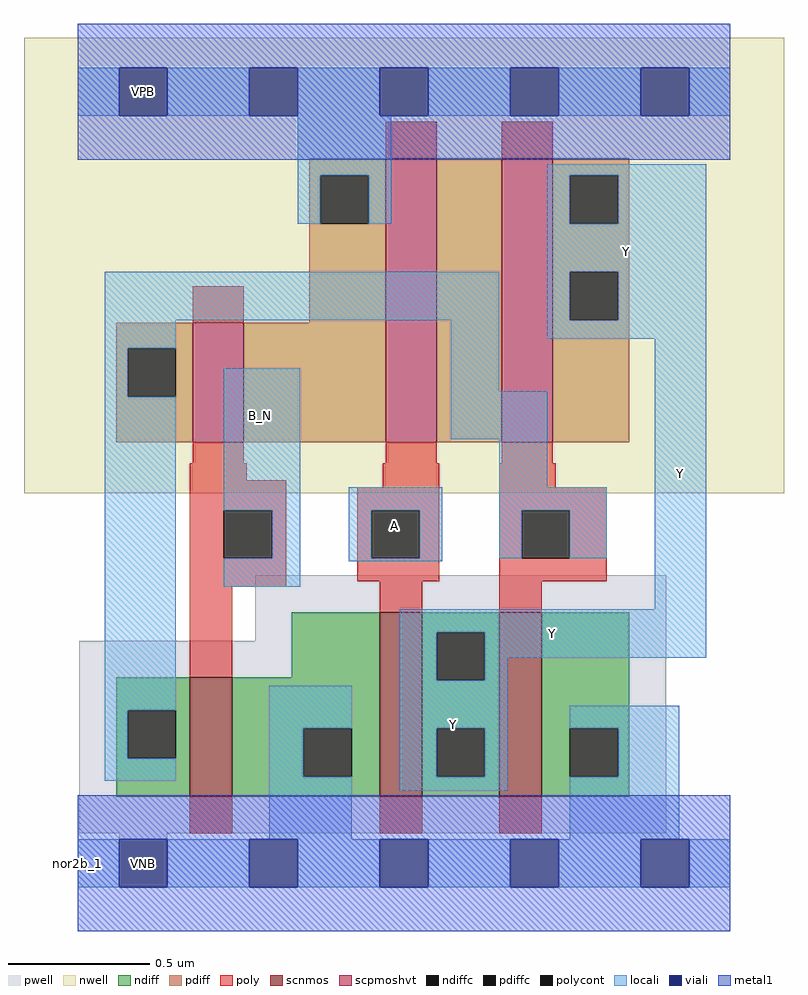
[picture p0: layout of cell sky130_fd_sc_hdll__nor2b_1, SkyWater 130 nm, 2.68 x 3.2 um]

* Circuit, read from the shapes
.subckt sky130_fd_sc_hdll__nor2b_1 A B_N VGND VNB VPB VPWR Y
XM1 VGND B_N n1 VNB sky130_fd_pr__nfet_01v8 w=0.42 l=0.15
XM2 Y A VGND VNB sky130_fd_pr__nfet_01v8 w=0.65 l=0.15
XM3 VGND n1 Y VNB sky130_fd_pr__nfet_01v8 w=0.65 l=0.15
XM4 VPWR B_N n1 VPB sky130_fd_pr__pfet_01v8_hvt w=0.42 l=0.18
XM5 n2 A VPWR VPB sky130_fd_pr__pfet_01v8_hvt w=1 l=0.18
XM6 Y n1 n2 VPB sky130_fd_pr__pfet_01v8_hvt w=1 l=0.18
.ends

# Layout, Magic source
magic
tech sky130A
magscale 1 2
<< nwell >>
rect -38 261 498 582
<< pwell >>
rect 125 157 415 203
rect 1 21 415 157
rect 29 -17 63 21
<< scnmos >>
rect 79 47 109 131
rect 213 47 243 177
rect 297 47 327 177
<< scpmoshvt >>
rect 81 297 117 381
rect 217 297 253 497
rect 299 297 335 497
<< ndiff >>
rect 151 131 213 177
rect 27 108 79 131
rect 27 74 35 108
rect 69 74 79 108
rect 27 47 79 74
rect 109 95 213 131
rect 109 61 159 95
rect 193 61 213 95
rect 109 47 213 61
rect 243 163 297 177
rect 243 129 253 163
rect 287 129 297 163
rect 243 95 297 129
rect 243 61 253 95
rect 287 61 297 95
rect 243 47 297 61
rect 327 95 389 177
rect 327 61 347 95
rect 381 61 389 95
rect 327 47 389 61
<< pdiff >>
rect 163 485 217 497
rect 163 451 171 485
rect 205 451 217 485
rect 163 381 217 451
rect 27 363 81 381
rect 27 329 35 363
rect 69 329 81 363
rect 27 297 81 329
rect 117 297 217 381
rect 253 297 299 497
rect 335 485 389 497
rect 335 451 347 485
rect 381 451 389 485
rect 335 417 389 451
rect 335 383 347 417
rect 381 383 389 417
rect 335 297 389 383
<< ndiffc >>
rect 35 74 69 108
rect 159 61 193 95
rect 253 129 287 163
rect 253 61 287 95
rect 347 61 381 95
<< pdiffc >>
rect 171 451 205 485
rect 35 329 69 363
rect 347 451 381 485
rect 347 383 381 417
<< poly >>
rect 217 497 253 523
rect 299 497 335 523
rect 81 381 117 407
rect 81 282 117 297
rect 217 282 253 297
rect 299 282 335 297
rect 79 270 119 282
rect 79 249 147 270
rect 215 265 255 282
rect 79 215 103 249
rect 137 215 147 249
rect 79 195 147 215
rect 197 249 255 265
rect 197 215 207 249
rect 241 215 255 249
rect 197 199 255 215
rect 297 265 337 282
rect 297 249 373 265
rect 297 215 313 249
rect 347 215 373 249
rect 297 199 373 215
rect 79 131 109 195
rect 213 177 243 199
rect 297 177 327 199
rect 79 21 109 47
rect 213 21 243 47
rect 297 21 327 47
<< polycont >>
rect 103 215 137 249
rect 207 215 241 249
rect 313 215 347 249
<< locali >>
rect 0 527 29 561
rect 63 527 121 561
rect 155 527 213 561
rect 247 527 305 561
rect 339 527 397 561
rect 431 527 460 561
rect 155 485 221 527
rect 155 451 171 485
rect 205 451 221 485
rect 331 485 443 493
rect 331 451 347 485
rect 381 451 443 485
rect 331 417 443 451
rect 19 383 297 417
rect 19 363 69 383
rect 19 329 35 363
rect 19 108 69 329
rect 103 249 157 349
rect 263 333 297 383
rect 331 383 347 417
rect 381 383 443 417
rect 331 370 443 383
rect 263 299 331 333
rect 297 265 331 299
rect 137 215 157 249
rect 103 195 157 215
rect 191 249 257 265
rect 191 215 207 249
rect 241 215 257 249
rect 297 249 373 265
rect 297 215 313 249
rect 347 215 373 249
rect 191 213 257 215
rect 407 179 443 370
rect 227 163 443 179
rect 227 129 253 163
rect 287 145 443 163
rect 287 129 303 145
rect 19 74 35 108
rect 19 58 69 74
rect 135 95 193 125
rect 135 61 159 95
rect 135 17 193 61
rect 227 95 303 129
rect 227 61 253 95
rect 287 61 303 95
rect 227 51 303 61
rect 347 95 424 111
rect 381 61 424 95
rect 347 17 424 61
rect 0 -17 29 17
rect 63 -17 121 17
rect 155 -17 213 17
rect 247 -17 305 17
rect 339 -17 397 17
rect 431 -17 460 17
<< viali >>
rect 29 527 63 561
rect 121 527 155 561
rect 213 527 247 561
rect 305 527 339 561
rect 397 527 431 561
rect 29 -17 63 17
rect 121 -17 155 17
rect 213 -17 247 17
rect 305 -17 339 17
rect 397 -17 431 17
<< metal1 >>
rect 0 561 460 592
rect 0 527 29 561
rect 63 527 121 561
rect 155 527 213 561
rect 247 527 305 561
rect 339 527 397 561
rect 431 527 460 561
rect 0 496 460 527
rect 0 17 460 48
rect 0 -17 29 17
rect 63 -17 121 17
rect 155 -17 213 17
rect 247 -17 305 17
rect 339 -17 397 17
rect 431 -17 460 17
rect 0 -48 460 -17
<< labels >>
flabel locali s 112 299 146 333 0 FreeSans 400 180 0 0 B_N
port 2 nsew signal input
flabel locali s 407 179 443 370 0 FreeSans 400 180 0 0 Y
port 7 nsew signal output
flabel locali s 206 221 240 255 0 FreeSans 400 180 0 0 A
port 1 nsew signal input
flabel nwell s 29 527 63 561 0 FreeSans 200 0 0 0 VPB
port 5 nsew power bidirectional
flabel pwell s 29 -17 63 17 0 FreeSans 200 0 0 0 VNB
port 4 nsew ground bidirectional
flabel metal1 s 29 -17 63 17 0 FreeSans 200 0 0 0 VGND
port 3 nsew ground bidirectional
flabel metal1 s 29 527 63 561 0 FreeSans 200 0 0 0 VPWR
port 6 nsew power bidirectional
rlabel comment s 0 0 0 0 4 nor2b_1
rlabel locali s 331 370 443 493 1 Y
port 7 nsew signal output
rlabel locali s 227 145 443 179 1 Y
port 7 nsew signal output
rlabel locali s 227 51 303 145 1 Y
port 7 nsew signal output
<< properties >>
string LEFsite unithd
string LEFclass CORE
string FIXED_BBOX 0 0 460 544
string GDS_FILE $PDKPATH/libs.ref/sky130_fd_sc_hdll/gds/sky130_fd_sc_hdll.gds
string LEFsymmetry X Y R90
string GDS_END 2344090
string GDS_START 2339804
string LEFproperties maskLayoutSubType "abstract" prCellType "standard" originalViewName "layout"
<< end >>
